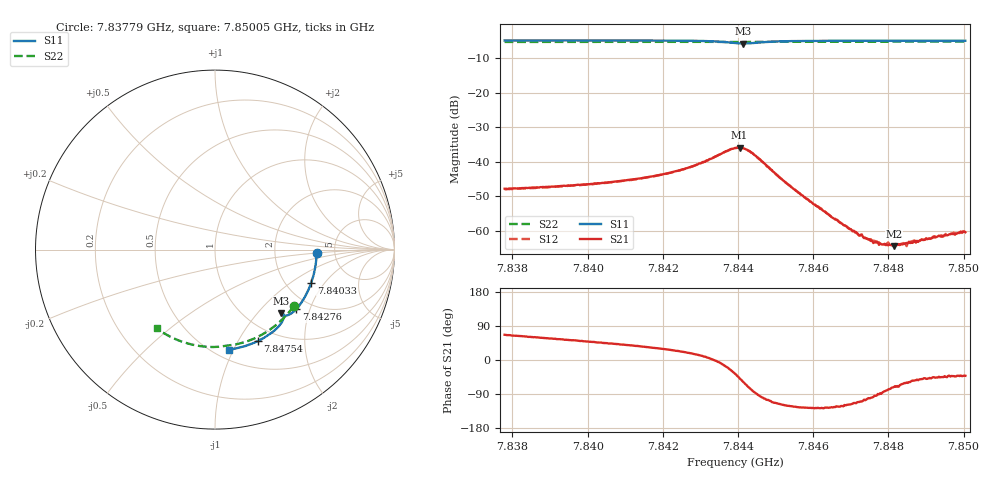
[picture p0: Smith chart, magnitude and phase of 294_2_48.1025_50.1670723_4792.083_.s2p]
#  HZ  S  RI  R  50.00
! Rohde & Schwarz Vector Network Analyzer
! Rohde-Schwarz,ZNB20-2Port,1311601062101988,3.16
! Created: UTC 12/23/2023, 4:04:05 AM
! freq[Hz]  re:S11  im:S11  re:S21  im:S21  re:S12  im:S12  re:S22  im:S22
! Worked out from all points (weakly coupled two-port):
!   401 points, 7.83779 GHz to 7.85005 GHz, reference 50 ohm
!   highest |S21| = -35.95 dB at 7.84404 GHz (marker M1); lowest = -64.5 dB at 7.84815 GHz (marker M2)
!   lowest |S11| = -5.8 dB at 7.84414 GHz (marker M3), VSWR 3.10, Z = 70.8 - j67.8 ohm
!   |S11| at or under -10 dB: nowhere
!   |S22| runs from -5.4 to -5.3 dB; largest |S21 - S12| = 0.00031
!   S11 on the Smith chart (normalised r, x): 7.83779 GHz: 3.61, -0.18; 7.84033 GHz: 2.73, -1.48; 7.84276 GHz: 1.67, -1.62; 7.84754 GHz: 0.82, -1.21; 7.85005 GHz: 0.59, -0.96
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7.837791e9  0.5664 -0.0169  0.00161 0.00372  0.00165 0.00364  0.4374 -0.3163
7.839845e9  0.5462 -0.1521  0.00296 0.00358  0.00295 0.00352  0.3391 -0.4209
7.840335e9  0.5363 -0.1835  0.00339 0.00349  0.00336 0.00349  0.312 -0.4419
7.841898e9  0.4906 -0.281  0.00552 0.00325  0.00547 0.00322  0.2166 -0.4962
7.842756e9  0.4529 -0.3316  0.00804 0.00256  0.00801 0.00254  0.1597 -0.517
7.843492e9  0.4045 -0.3657  0.0125 -0.0012  0.0125 -0.00122  0.1095 -0.5293
7.843921e9  0.3725 -0.3622  0.0127 -0.00937  0.0127 -0.00914  0.0808 -0.5327
7.844043e9  0.3694 -0.3568  0.0106 -0.0119  0.0106 -0.0116  0.0732 -0.5339
7.844135e9  0.3704 -0.3534  0.00835 -0.0132  0.00856 -0.0132  0.0675 -0.5346
7.84438e9  0.3789 -0.3551  0.00217 -0.0132  0.00228 -0.0132  0.0521 -0.5372
7.845269e9  0.3659 -0.4146  -0.00247 -0.0043  -0.00246 -0.00436  -0.00984 -0.5427
7.845974e9  0.33 -0.4518  -0.00151 -0.00203  -0.00148 -0.00204  -0.0598 -0.5403
7.847169e9  0.2612 -0.4981  -0.000337 -0.000856  -0.000361 -0.000847  -0.1424 -0.5256
7.847537e9  0.2389 -0.5093  -0.00012 -0.0007  -0.000129 -0.000745  -0.1672 -0.5185
7.847844e9  0.2201 -0.5179  4.66e-05 -0.000627  2.24e-05 -0.000628  -0.1877 -0.5114
7.848027e9  0.2086 -0.5229  0.000145 -0.000618  0.000127 -0.000615  -0.1998 -0.507
7.84815e9  0.201 -0.5258  0.000193 -0.000566  0.000172 -0.000579  -0.208 -0.5039
7.848518e9  0.1779 -0.534  0.000323 -0.000569  0.000334 -0.000573  -0.2316 -0.4936
7.84861e9  0.1719 -0.536  0.00038 -0.000561  0.000357 -0.000606  -0.2374 -0.4909
7.848763e9  0.1622 -0.5391  0.000444 -0.00056  0.000449 -0.000562  -0.2472 -0.4862
7.849284e9  0.1285 -0.5478  0.000563 -0.000584  0.000583 -0.00058  -0.2793 -0.4689
7.85005e9  0.0782 -0.557  0.00071 -0.000632  0.000713 -0.000667  -0.3241 -0.4394
